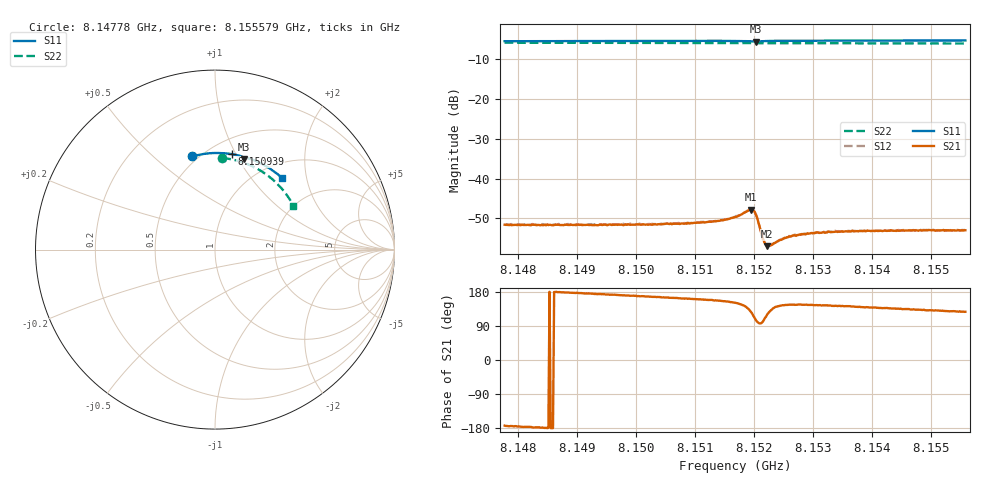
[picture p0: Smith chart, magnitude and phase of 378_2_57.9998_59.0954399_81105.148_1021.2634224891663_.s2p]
#  HZ  S  RI  R  50.00
! Rohde & Schwarz Vector Network Analyzer
! Rohde-Schwarz,ZNB20-2Port,1311601062101988,3.16
! Created: UTC 3/21/2024, 1:07:12 AM
! freq[Hz]  re:S11  im:S11  re:S21  im:S21  re:S12  im:S12  re:S22  im:S22
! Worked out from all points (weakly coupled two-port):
!   401 points, 8.14778 GHz to 8.155579 GHz, reference 50 ohm
!   highest |S21| = -47.75 dB at 8.151953 GHz (marker M1); lowest = -57.0 dB at 8.152225 GHz (marker M2)
!   lowest |S11| = -5.5 dB at 8.152031 GHz (marker M3), VSWR 3.25, Z = 37.6 + j52.6 ohm
!   |S11| at or under -10 dB: nowhere
!   |S22| runs from -6.0 to -5.8 dB; largest |S21 - S12| = 0.00014
!   S11 on the Smith chart (normalised r, x): 8.14778 GHz: 0.46, +0.68; 8.150939 GHz: 0.64, +0.96; 8.155579 GHz: 1.28, +1.45
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8.1477801e9  -0.1263 0.5198  -0.00262 -0.000314  -0.00264 -0.000242  0.04 0.511
8.1490864e9  -0.0366 0.536  -0.00261 0.000157  -0.00263 0.000235  0.1235 0.4957
8.1503927e9  0.0543 0.5367  -0.0026 0.000643  -0.00261 0.000694  0.2026 0.4671
8.1509387e9  0.0922 0.5325  -0.00263 0.000892  -0.00262 0.000919  0.2339 0.4513
8.1514066e9  0.125 0.5262  -0.00271 0.00116  -0.00271 0.00122  0.2597 0.4361
8.1516796e9  0.1447 0.5208  -0.0029 0.00158  -0.00286 0.00164  0.2742 0.4265
8.1519135e9  0.1612 0.5106  -0.00276 0.00288  -0.00273 0.00295  0.2864 0.4179
8.1519525e9  0.1626 0.5078  -0.00244 0.0033  -0.00239 0.00337  0.2883 0.4163
8.1519915e9  0.1625 0.5053  -0.00176 0.00357  -0.00176 0.0036  0.2901 0.4149
8.1520305e9  0.1612 0.5043  -0.000982 0.00343  -0.000988 0.00347  0.2921 0.4134
8.1520695e9  0.1605 0.5055  -0.000455 0.00291  -0.000397 0.00293  0.2939 0.4121
8.152128e9  0.1628 0.5084  -0.000267 0.00201  -0.000263 0.002  0.2969 0.41
8.152167e9  0.1657 0.5099  -0.000442 0.00161  -0.000428 0.00161  0.2988 0.4085
8.1521865e9  0.1675 0.5103  -0.000547 0.00142  -0.000503 0.00147  0.2998 0.4078
8.1522255e9  0.1706 0.5107  -0.00072 0.00122  -0.000695 0.0013  0.302 0.4065
8.152284e9  0.1756 0.5103  -0.000945 0.00111  -0.000975 0.00113  0.3048 0.4041
8.152479e9  0.1905 0.5071  -0.00141 0.001  -0.00141 0.00103  0.3144 0.3962
8.1526349e9  0.2013 0.5036  -0.00156 0.00106  -0.00155 0.0011  0.3222 0.3899
8.1529859e9  0.2246 0.4946  -0.00171 0.00118  -0.00171 0.00118  0.3386 0.3748
8.1533953e9  0.2507 0.4826  -0.00173 0.00131  -0.00172 0.00134  0.3569 0.3567
8.1542922e9  0.3048 0.4521  -0.0016 0.00152  -0.00162 0.00155  0.3931 0.3135
8.155579e9  0.3751 0.3981  -0.00136 0.00179  -0.00138 0.00181  0.4361 0.2457
